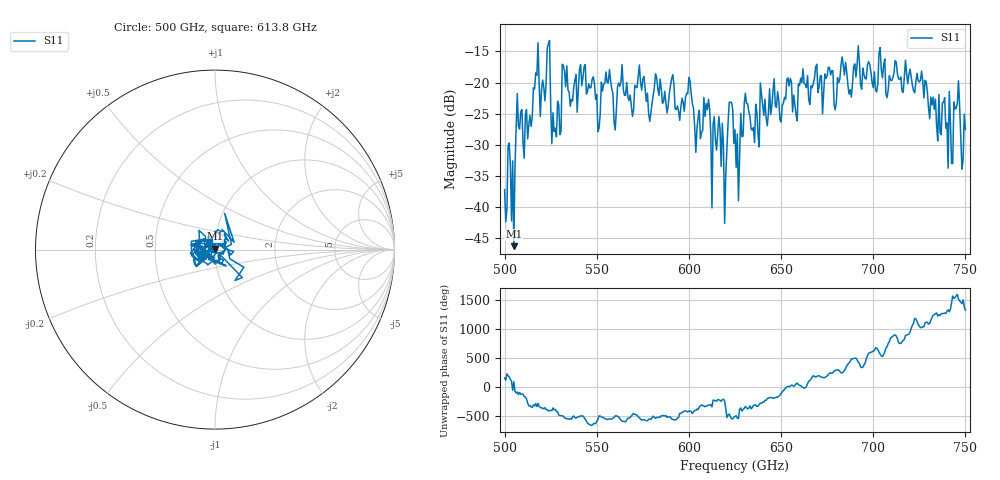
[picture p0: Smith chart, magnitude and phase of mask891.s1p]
!Created with skrf (http://scikit-rf.org).
# GHz S MA R 50.0
!freq magS11 angS11
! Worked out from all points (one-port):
!   401 points, 500 GHz to 750 GHz, reference 50 ohm
!   lowest |S11| = -46.3 dB at 505 GHz (marker M1), VSWR 1.01, Z = 50 + j0.482 ohm
!   |S11| at or under -10 dB: start of sweep to end of sweep
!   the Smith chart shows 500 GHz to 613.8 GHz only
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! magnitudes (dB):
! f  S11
! 500 GHz  -37.2
! 505 GHz  -46.3
! 507.5 GHz  -27.0
! 513.8 GHz  -25.3
! 516.9 GHz  -18.5
! 520.6 GHz  -19.6
! 523.8 GHz  -13.8
! 526.9 GHz  -27.9
! 531.2 GHz  -17.1
! 542.5 GHz  -19.2
! 550.6 GHz  -27.9
! 562.5 GHz  -20.6
! 593.8 GHz  -23.8
! 609.4 GHz  -23.4
! 618.8 GHz  -30.4
! 622.5 GHz  -23.2
! 625 GHz  -27.6
! 628.1 GHz  -25.0
! 631.2 GHz  -23.4
! 634.4 GHz  -27.7
! 656.2 GHz  -24.7
! 676.9 GHz  -18.8
! 680 GHz  -23.1
! 683.8 GHz  -17.2
! 687.5 GHz  -21.2
! 691.2 GHz  -17.0
! 718.8 GHz  -20.2
! 750 GHz  -27.5
